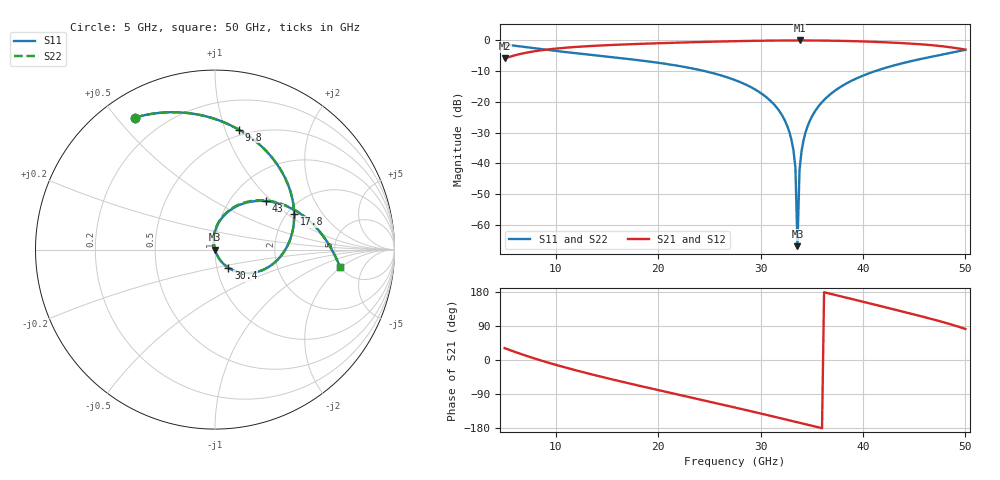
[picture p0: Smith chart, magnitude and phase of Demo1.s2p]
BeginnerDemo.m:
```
% BeginnerDemo      An introductory demo of the Sonnet-Matlab Interface
%   This is a very simple demo of how Sonnet projects can be 
%   built and simulated using Matlab.
%
%   This demo was written by Bashir Souid

% Make a Sonnet Project
Project=SonnetProject();

% Write the project to the file
Project.saveAs('Demo1.son');

% Set the dielectric layer thicknesses
Project.changeDielectricLayerThickness(1,50);
Project.changeDielectricLayerThickness(2,5);
Project.openInSonnet();

% Add a metal polygon
anArrayOfXCoordinates=[0;160;160;0];
anArrayOfYCoordinates=[130;130;150;150];
Project.addMetalPolygonEasy(0,anArrayOfXCoordinates,anArrayOfYCoordinates);
Project.openInSonnet();

% Add a metal polygon
anArrayOfXCoordinates=[70;90;90;70];
anArrayOfYCoordinates=[130;130;20;20];
Project.addMetalPolygonEasy(0,anArrayOfXCoordinates,anArrayOfYCoordinates);
Project.openInSonnet();

% Add a via polygon
anArrayOfXCoordinates=[70;90;90;70];
anArrayOfYCoordinates=[20;20;40;40];
Project.addViaPolygonEasy(0,1,anArrayOfXCoordinates,anArrayOfYCoordinates);
Project.openInSonnet();

% Snap the polygons to the grid
Project.snapPolygonsToGrid();
Project.openInSonnet();

% Choose an analysis type
Project.addAbsFrequencySweep(5,50);

% Make two ports
Project.addPortToPolygon(1,2);
Project.addPortToPolygon(1,4);
Project.openInSonnet();

% Add an output file and then resimulate
Project.addTouchstoneOutput;
Project.simulate('-c');

% Read Touchstone Output File for S11 and S21
[F, Data, Zo, DataCell] = TouchstoneRead('Demo1.s2p');
S11 = squeeze(Data(1,1,:));
S21 = squeeze(Data(1,1,:));

% Convert the S11 and S21 data to dB
S11dB = 20*log10(abs(S11));
S21dB = 20*log10(abs(S21));

% Plot S11 and S21 data in dB
plot(F,S11dB,F,S21dB);
title('dB(S_2_1) and dB(S_1_1) vs Freq.');
xlabel('F [GHz]');
ylabel('dB(S)');
legend('dB(S_1_1)','dB(S_2_1)','Location','Best')
grid on
```
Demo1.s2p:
! Sonnet Data File
! From: em Version : 14.52
! From Project: Demo1
! Data is De-embedded
! Data File Written: 08/02/2018 00:29:28
!< HDATE 8/2/2018 0:26:57
!< MDATE 8/2/2018 0:26:57
# GHZ S MA R 50.00000
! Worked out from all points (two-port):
!   226 points, 5 GHz to 50 GHz, reference 50 ohm
!   highest |S21| = 0.00 dB at 33.8 GHz (marker M1); lowest = -5.9 dB at 5 GHz (marker M2)
!   |S21| within 3 dB of the highest: 9.033 GHz to end of sweep
!   lowest |S11| = -66.9 dB at 33.6 GHz (marker M3), VSWR 1.00, Z = 50 - j0.0434 ohm
!   |S11| at or under -10 dB: 24.58 GHz to 41.17 GHz (16.58 GHz wide, 50.4 % of centre)
!   |S22| runs from -66.9 to -1.3 dB; largest |S21 - S12| = 0
!   S11 on the Smith chart (normalised r, x): 5 GHz: 0.10, +0.56; 9.8 GHz: 0.45, +1.12; 17.8 GHz: 2.18, +1.13; 30.4 GHz: 1.14, -0.23; 43 GHz: 1.44, +0.92; 50 GHz: 4.97, -1.97
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5  0.8608 121.3  0.509 31.3  0.509 31.3  0.8608 121.3
!< P1 F=5.0 Eeff=(1.00008652 0.0) Z0=(58.6624352 0.0) R=0.0 C=0.01075684
!< P2 F=5.0 Eeff=(1.00008652 0.0) Z0=(58.6624352 0.0) R=0.0 C=0.01075684
9.8  0.6816 78.8  0.7317 -11.2  0.7317 -11.2  0.6816 78.8
17.8  0.4836 24.2  0.8754 -65.8  0.8754 -65.8  0.4836 24.2
27.6  0.2236 -36.1  0.9746 -126.1  0.9746 -126.1  0.2238 -36.0
30.4  0.1254 -53.7  0.992 -143.7  0.992 -143.7  0.1256 -53.5
33  0.02473 -70.3  0.9997 -160.3  0.9997 -160.3  0.02478 -70.1
33.6  0.0004505 -74.2  1 -164.2  1 -164.2  0.0004505 -74.2
33.8  0.007716 104.6  1 -165.5  1 -165.5  0.007767 105.4
36  0.09925 90.2  0.9957 -179.9  0.9957 -179.9  0.09995 91.0
43  0.3915 43.7  0.9203 133.8  0.9203 133.8  0.3931 44.2
50  0.7049 -8.1  0.7093 81.9  0.7093 81.9  0.7049 -8.1
